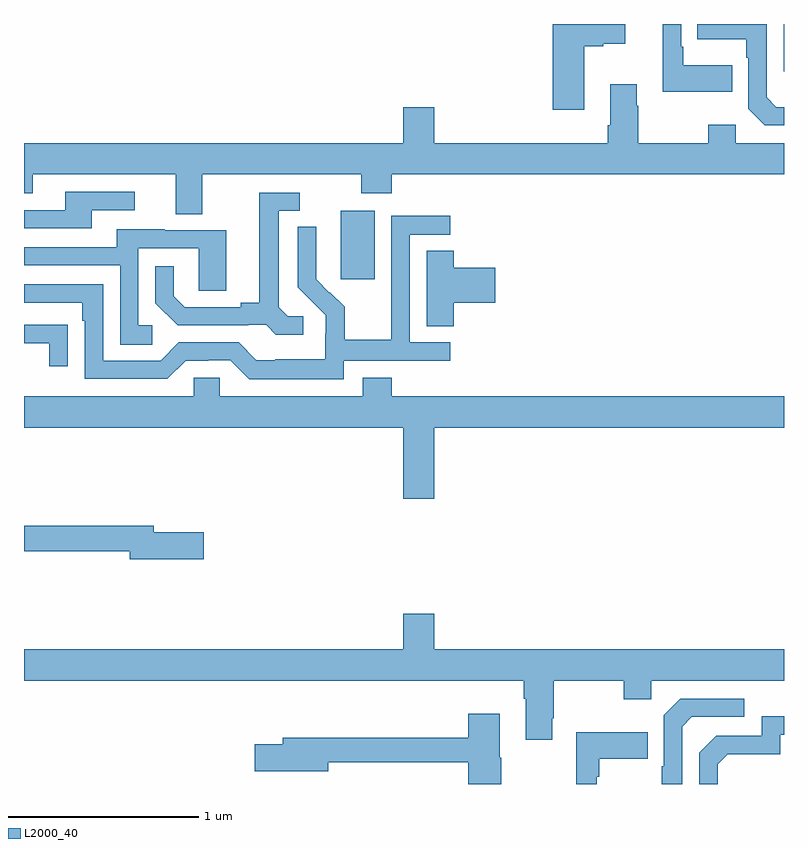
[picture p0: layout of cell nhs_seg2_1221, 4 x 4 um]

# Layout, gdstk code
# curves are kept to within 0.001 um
import gdstk
lib = gdstk.Library(unit=1e-6, precision=1e-09)
def R(c, l, rs):  # rectangles x0, y0, x1, y1
    for r in rs: c.add(gdstk.rectangle(r[:2], r[2:], *l))
def P(c, l, *ps):  # polygons
    for p in ps: c.add(gdstk.Polygon(p, *l))
L2000_40 = (2000, 40)

nhs_seg2_1221 = lib.new_cell('nhs_seg2_1221')
R(nhs_seg2_1221, L2000_40, [(176.666,608.457,176.845,608.818)])
P(nhs_seg2_1221, L2000_40, [(177.949,609.683),(178.049,609.683),(178.049,609.695),(178.165,609.695),(178.165,609.8),(177.782,609.8),(177.782,609.348),(177.949,609.348)],
  [(178.727,609.583),(178.471,609.583),(178.471,609.679),(178.458,609.679),(178.458,609.8),(178.361,609.8),(178.361,609.443),(178.727,609.443)],
  [(179,609.363),(178.959,609.363),(178.908,609.414),(178.908,609.8),(178.543,609.8),(178.543,609.719),(178.8,609.719),(178.8,609.623),(178.812,609.623),(178.812,609.354),(178.899,609.267),(179,609.267)],
  [(179,609.8),(178.998,609.8),(178.998,609.552),(179,609.55)],
  [(175.939,609.008),(176.776,609.008),(176.776,608.909),(176.936,608.909),(176.936,609.008),(179,609.008),(179,609.172),(178.746,609.172),(178.746,609.271),(178.6,609.271),(178.6,609.172),(178.233,609.172),(178.233,609.371),(178.225,609.371),(178.225,609.484),(178.085,609.484),(178.085,609.268),(178.073,609.268),(178.073,609.172),(177.16,609.172),(177.16,609.361),(176.996,609.361),(176.996,609.172),(175,609.172),(175,608.909),(175.045,608.909),(175.045,609.008),(175.799,609.008),(175.799,608.8),(175.939,608.8)],
  [(175.357,608.82),(175.582,608.82),(175.582,608.916),(175.217,608.916),(175.217,608.82),(175,608.82),(175,608.724),(175.357,608.724)],
  [(176.47,608.262),(176.388,608.262),(176.341,608.309),(176.341,608.817),(176.452,608.817),(176.452,608.913),(176.237,608.913),(176.237,608.333),(176.141,608.333),(176.141,608.31),(175.846,608.31),(175.789,608.367),(175.789,608.524),(175.692,608.524),(175.692,608.33),(175.808,608.214),(176.18,608.214),(176.18,608.217),(176.274,608.217),(176.326,608.165),(176.47,608.165)],
  [(176.682,608.028),(177.244,608.028),(177.244,608.124),(177.03,608.124),(177.03,608.691),(177.244,608.691),(177.244,608.79),(176.934,608.79),(176.934,608.36),(176.932,608.36),(176.932,608.137),(176.687,608.137),(176.687,608.311),(176.61,608.388),(176.607,608.385),(176.537,608.456),(176.538,608.732),(176.442,608.732),(176.442,608.414),(176.588,608.266),(176.588,608.169),(176.586,608.169),(176.586,608.035),(176.323,608.035),(176.323,608.031),(176.223,608.031),(176.13,608.124),(175.815,608.124),(175.719,608.028),(175.416,608.028),(175.416,608.43),(175,608.43),(175,608.334),(175.307,608.334),(175.307,608.237),(175.32,608.237),(175.32,607.932),(175.755,607.932),(175.851,608.028),(175.97,608.028),(175.97,608.031),(176.085,608.031),(176.185,607.931),(176.682,607.931)],
  [(175.675,608.214),(175.602,608.214),(175.602,608.619),(175.92,608.619),(175.92,608.395),(176.065,608.395),(176.065,608.715),(175.741,608.715),(175.741,608.719),(175.487,608.719),(175.487,608.625),(175,608.625),(175,608.529),(175.506,608.529),(175.506,608.113),(175.675,608.113)],
  [(177.263,608.333),(177.481,608.333),(177.481,608.516),(177.263,608.516),(177.263,608.606),(177.119,608.606),(177.119,608.209),(177.263,608.209)],
  [(175.229,608.216),(175.127,608.216),(175.127,608.217),(175,608.217),(175,608.121),(175.133,608.121),(175.133,607.998),(175.229,607.998)],
  [(177.16,607.676),(179,607.676),(179,607.84),(176.936,607.84),(176.936,607.939),(176.783,607.939),(176.783,607.84),(176.031,607.84),(176.031,607.938),(175.893,607.938),(175.893,607.84),(175,607.84),(175,607.676),(176.996,607.676),(176.996,607.302),(177.16,607.302)],
  [(175.945,607.124),(175.684,607.124),(175.684,607.16),(175,607.16),(175,607.024),(175.556,607.024),(175.556,606.982),(175.945,606.982)],
  [(177.781,606.145),(177.789,606.145),(177.789,606.344),(178.156,606.344),(178.156,606.245),(178.302,606.245),(178.302,606.344),(179,606.344),(179,606.508),(177.16,606.508),(177.16,606.697),(176.996,606.697),(176.996,606.508),(175,606.508),(175,606.344),(177.629,606.344),(177.629,606.248),(177.641,606.248),(177.641,606.033),(177.781,606.033)],
  [(178.464,606.102),(178.515,606.153),(178.792,606.153),(178.792,606.249),(178.455,606.249),(178.368,606.162),(178.368,605.893),(178.356,605.893),(178.356,605.8),(178.464,605.8)],
  [(177.513,605.937),(177.505,605.937),(177.505,606.169),(177.338,606.169),(177.338,606.043),(176.363,606.043),(176.363,606.009),(176.214,606.009),(176.214,605.867),(176.602,605.867),(176.602,605.914),(177.338,605.914),(177.338,605.8),(177.513,605.8)],
  [(178.65,605.904),(178.703,605.957),(178.98,605.957),(178.98,606.06),(179,606.06),(179,606.156),(178.884,606.156),(178.884,606.054),(178.644,606.054),(178.554,605.964),(178.554,605.8),(178.65,605.8)],
  [(178.014,605.837),(178.027,605.837),(178.027,605.933),(178.283,605.933),(178.283,606.073),(177.906,606.073),(177.906,605.8),(178.014,605.8)])

lib.write_gds('nhs_seg2_1221.gds')
